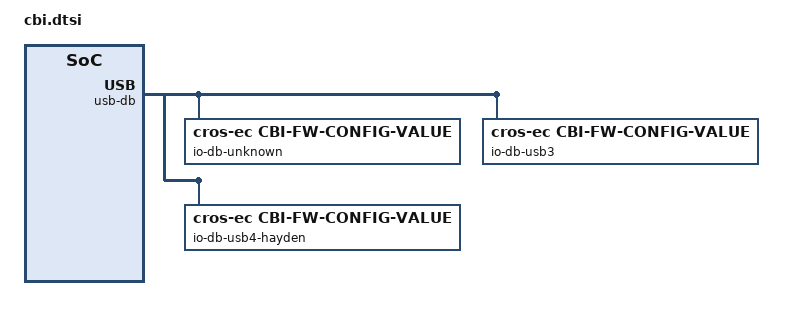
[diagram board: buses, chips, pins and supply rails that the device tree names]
/* Copyright 2023 The ChromiumOS Authors
 * Use of this source code is governed by a BSD-style license that can be
 * found in the LICENSE file.
 */

/ {
	screebo-fw-config {
		compatible = "cros-ec,cbi-fw-config";

		/*
		 * FW_CONFIG field to enable USB DB.
		 */
		usb-db {
			enum-name = "FW_USB_DB";
			start = <2>;
			size = <3>;

			io-db-unknown {
				compatible = "cros-ec,cbi-fw-config-value";
				enum-name = "FW_USB_DB_NOT_CONNECTED";
				value = <0>;
			};
			io-db-usb3 {
				compatible = "cros-ec,cbi-fw-config-value";
				enum-name = "FW_USB_DB_USB3";
				value = <1>;
			};
			io-db-usb4-hayden {
				compatible = "cros-ec,cbi-fw-config-value";
				enum-name = "FW_USB_DB_USB4_HB";
				value = <2>;
				default;
			};
		};
	};
};
